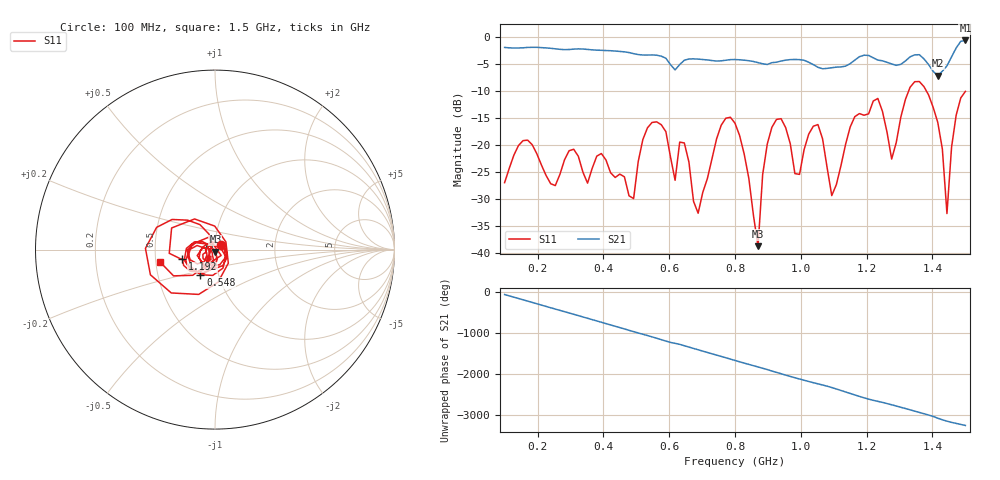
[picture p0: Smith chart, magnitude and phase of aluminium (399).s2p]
! NanoVNA-App
! Date: 2025-09-25 14:58:23
! Start: 100MHz Stop: 1,5GHz Points: 101
! S-Parameter data: F S11 S21 S12 S22
# Hz S RI R 50
!  Frequency  S11_Real  S11_Imag  S21_Real  S21_Imag  S12_Real  S12_Imag  S22_Real  S22_Imag
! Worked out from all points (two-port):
!   101 points, 100 MHz to 1.5 GHz, reference 50 ohm
!   highest |S21| = -0.63 dB at 1.5 GHz (marker M1); lowest = -7.2 dB at 1.416 GHz (marker M2)
!   |S21| within 3 dB of the highest: start of sweep to 579.3 MHz; 1.458 GHz to end of sweep (the widest 2 of 4)
!   lowest |S11| = -38.7 dB at 870 MHz (marker M3), VSWR 1.02, Z = 50.2 - j1.14 ohm
!   |S11| at or under -10 dB: start of sweep to 1.328 GHz; 1.382 GHz to end of sweep
!   S12 and S22 are empty: the file has one direction only
!   S11 on the Smith chart (normalised r, x): 100 MHz: 1.07, +0.06; 548 MHz: 0.82, -0.24; 1.192 GHz: 0.69, -0.08; 1.5 GHz: 0.53, -0.08
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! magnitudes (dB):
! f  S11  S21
! 100 MHz  -27.0  -1.9
! 156 MHz  -19.2  -2.0
! 338 MHz  -25.0  -2.2
! 492 MHz  -29.9  -3.1
! 548 MHz  -15.8  -3.3
! 576 MHz  -16.2  -3.5
! 646 MHz  -19.6  -4.3
! 688 MHz  -32.6  -4.1
! 800 MHz  -16.0  -4.2
! 870 MHz  -38.7  -4.7
! 912 MHz  -16.7  -4.7
! 996 MHz  -25.4  -4.2
! 1.038 GHz  -16.5  -5.1
! 1.094 GHz  -29.4  -5.7
! 1.192 GHz  -14.5  -3.4
! 1.234 GHz  -11.4  -4.3
! 1.276 GHz  -22.6  -5.0
! 1.346 GHz  -8.3  -3.3
! 1.416 GHz  -15.8  -7.2
! 1.444 GHz  -32.7  -5.3
! 1.472 GHz  -14.5  -2.0
! 1.5 GHz  -10.1  -0.6
